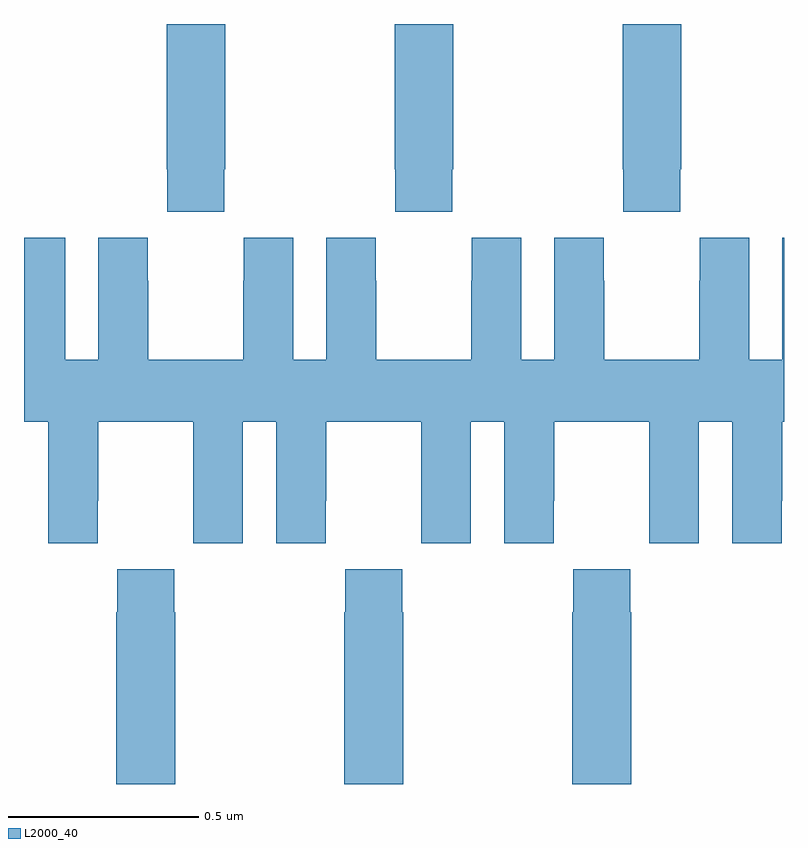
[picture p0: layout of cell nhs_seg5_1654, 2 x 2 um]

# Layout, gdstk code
import gdstk
lib = gdstk.Library(unit=1e-6, precision=1e-09)
def P(c, l, *ps):  # polygons
    for p in ps: c.add(gdstk.Polygon(p, *l))
L2000_40 = (2000, 40)

nhs_seg5_1654 = lib.new_cell('nhs_seg5_1654')
P(nhs_seg5_1654, L2000_40, [(134.727,865.417),(134.73,865.417),(134.73,865.799),(134.575,865.799),(134.575,865.417),(134.577,865.417),(134.577,865.305),(134.727,865.305)],
  [(134.127,865.417),(134.13,865.417),(134.13,865.799),(133.975,865.799),(133.975,865.417),(133.977,865.417),(133.977,865.305),(134.127,865.305)],
  [(133.527,865.417),(133.53,865.417),(133.53,865.799),(133.375,865.799),(133.375,865.417),(133.377,865.417),(133.377,865.305),(133.527,865.305)],
  [(133.927,865.124),(133.926,865.124),(133.926,865.237),(133.796,865.237),(133.796,864.916),(133.708,864.916),(133.708,865.237),(133.578,865.237),(133.578,865.124),(133.577,865.124),(133.577,864.916),(133.327,864.916),(133.327,865.124),(133.326,865.124),(133.326,865.237),(133.196,865.237),(133.196,864.916),(133.108,864.916),(133.108,865.237),(133,865.237),(133,864.752),(133.064,864.752),(133.064,864.432),(133.194,864.432),(133.194,864.544),(133.195,864.544),(133.195,864.752),(133.445,864.752),(133.445,864.544),(133.446,864.544),(133.446,864.432),(133.576,864.432),(133.576,864.752),(133.664,864.752),(133.664,864.432),(133.794,864.432),(133.794,864.544),(133.795,864.544),(133.795,864.752),(134.045,864.752),(134.045,864.544),(134.046,864.544),(134.046,864.432),(134.176,864.432),(134.176,864.752),(134.264,864.752),(134.264,864.432),(134.394,864.432),(134.394,864.544),(134.395,864.544),(134.395,864.752),(134.645,864.752),(134.645,864.544),(134.646,864.544),(134.646,864.432),(134.776,864.432),(134.776,864.752),(134.864,864.752),(134.864,864.432),(134.994,864.432),(134.994,864.544),(134.995,864.544),(134.995,864.752),(135,864.752),(135,865.237),(134.996,865.237),(134.996,864.916),(134.908,864.916),(134.908,865.237),(134.778,865.237),(134.778,865.124),(134.777,865.124),(134.777,864.916),(134.527,864.916),(134.527,865.124),(134.526,865.124),(134.526,865.237),(134.396,865.237),(134.396,864.916),(134.308,864.916),(134.308,865.237),(134.178,865.237),(134.178,865.124),(134.177,865.124),(134.177,864.916),(133.927,864.916)],
  [(134.598,864.251),(134.595,864.251),(134.595,864.364),(134.445,864.364),(134.445,864.251),(134.443,864.251),(134.443,863.799),(134.598,863.799)],
  [(133.398,864.251),(133.395,864.251),(133.395,864.364),(133.245,864.364),(133.245,864.251),(133.243,864.251),(133.243,863.799),(133.398,863.799)],
  [(133.998,864.251),(133.995,864.251),(133.995,864.364),(133.845,864.364),(133.845,864.251),(133.843,864.251),(133.843,863.799),(133.998,863.799)])

lib.write_gds('nhs_seg5_1654.gds')
